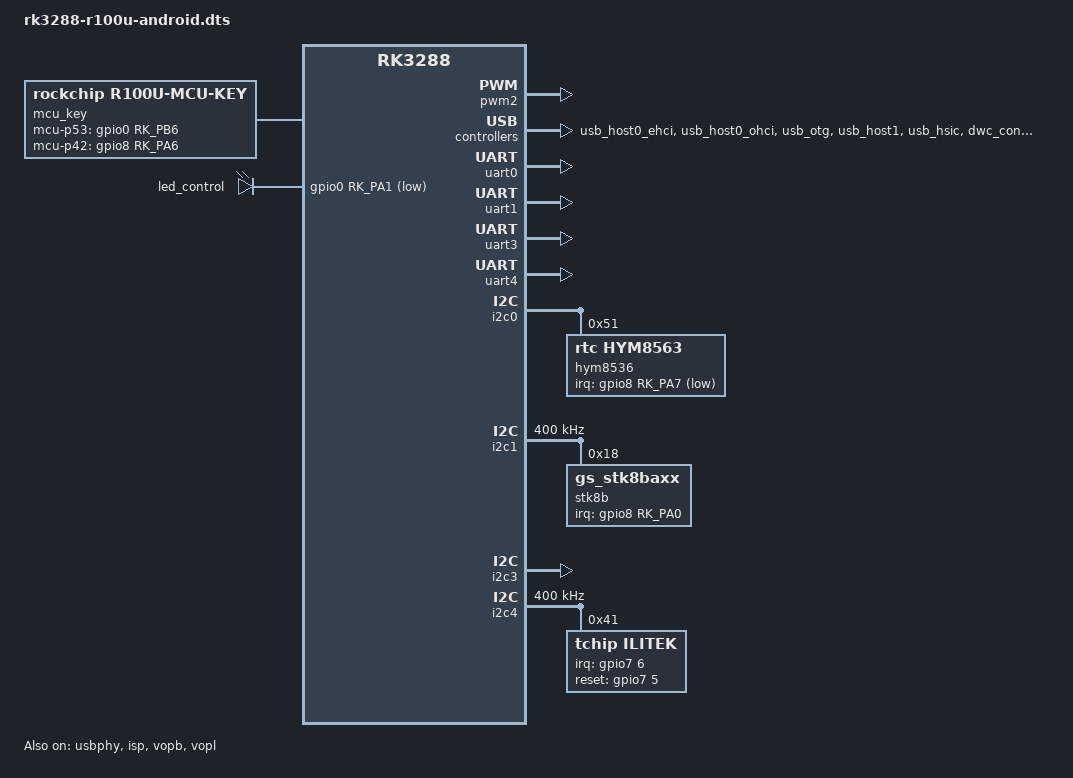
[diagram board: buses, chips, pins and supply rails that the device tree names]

/dts-v1/;
#include "rk3288-r100u-def.dtsi"

// #include "rk3288-r100u-edp-10p1inch-1920x1080.dtsi"
#include "rk3288-r100u-edp-15p6inch-1920x1080.dtsi"
// #include "rk3288-r100u-lvds-21p5inch-1920x1080.dtsi"
// #include "rk3288-r100u-mipi-10inch-1920x1080.dtsi"
// #include "rk3288-r100u-mipi-8inch-800x1280.dtsi"

/ {
	compatible = "rockchip,rk3288-evb-android-rk808-edp", "rockchip,rk3288";
   /** start : default system power-key -----------------------------------------------*/
    rk_key: rockchip-key {
    		compatible = "rockchip,key";
    		status = "okay";
    		// io-channels = <&saradc 1>;
    		power-key {
    			gpios = <&gpio0 5 GPIO_ACTIVE_LOW>;      // system default power key port
            //  gpios = <&gpio5 RK_PC3 GPIO_ACTIVE_LOW>;     // customer define power key in project r100u
    			linux,code = <116>;
    			pinctrl-names = "default";
    			pinctrl-0 = <&pwrbtn>;
    			label = "power";
    			gpio-key,wakeup;
    		};
    	};
    /** end : default system power-key -----------------------------------------------*/
    /** start : mcu power off control -----------------------------------------------*/
    mcu_key: mcu-key {
        compatible = "rockchip,r100u-mcu-key";
        status = "okay";
        mcu-p53-gpio = <&gpio0 RK_PB6 GPIO_ACTIVE_HIGH>;
        mcu-p42-gpio = <&gpio8 RK_PA6 GPIO_ACTIVE_HIGH>;
    };
    /** end : mcu power off control ------------------------------------------------*/
    leds {
        compatible = "gpio-leds";
        status = "okay";
        led0:led-control {
            label = "led_control";
            gpios = <&gpio0 RK_PA1 GPIO_ACTIVE_LOW>;
            default-state = "on";
            linux,default-trigger = "heartbeat";
            linux,default-trigger-delay-ms = <6000>;    // custorm configuration mode
        };
    };
};

&pwm2 {
    status = "okay";
    compatible = "rockchip,remotectl-pwm";
    pinctrl-names = "default";          // change default active to default
    pinctrl-0 = <&pwm2_pin>;
    // pinctrl-0 = <&pwm3_pin>;
    remote_pwm_id = <2>;
    handle_cpu_id = <1>;
    interrupts = <GIC_SPI 78 IRQ_TYPE_LEVEL_HIGH>;
    remote_support_psci = <1>;
    ir_key0 {   // uninvert code
        rockchip,usercode = <0x7F80>;
        // rockchip,usercode = <0x4040>;
        rockchip,key_table =
            <0xED   KEY_POWER>,
            <0xFB   KEY_MENU>,
            <0xF9   KEY_BACK>,
            <0xFE   KEY_HOMEPAGE>,
            <0xF1   KEY_VOLUMEUP>,
            <0xF3   KEY_VOLUMEDOWN>,
            <0xFA   KEY_UP>,
            <0xE4   KEY_DOWN>,
            <0xF8   KEY_LEFT>,
            <0xF7   KEY_ENTER>,
            <0xF6   KEY_RIGHT>;
    };  
    ir_key1 {   // invert code
    rockchip,usercode = <0x7F80>;
        // rockchip,usercode = <0x4040>;
        rockchip,key_table =
            <0x12   KEY_POWER>,
            <0x04   KEY_MENU>,
            <0x06   KEY_BACK>,
            <0x01   KEY_HOMEPAGE>,
            <0x0E   KEY_VOLUMEUP>,
            <0x0C   KEY_VOLUMEDOWN>,
            <0x05   KEY_UP>,
            <0x1B   KEY_DOWN>,
            <0x07   KEY_LEFT>,
            <0x08   KEY_ENTER>,
            <0x09   KEY_RIGHT>;
    };  
	ir_key2 {
		rockchip,usercode = <0xff00>;
		rockchip,key_table =
            <0xEF  KEY_POWER>,
            <0xFE  KEY_VOLUMEUP>,
            <0xFD  KEY_DELETE>,
            <0xF8  KEY_VOLUMEDOWN>,
            <0xE8  KEY_UP>,
            <0xE5  KEY_LEFT>,
            <0xE4  KEY_ENTER>,
            <0xE0  KEY_DOWN>,
            <0xBE   KEY_MENU>,
            <0xA6  KEY_RIGHT>,
            <0x5A  KEY_BRIGHTNESSDOWN>,
            <0xA3  KEY_BACK>,
            <0x5F  KEY_BRIGHTNESSUP>;
	};
};

&usbphy {
	status = "okay";
};

&usb_host0_ehci {
	rockchip-relinquish-port;
	status = "okay";
};

&usb_host0_ohci {
	status = "okay";
};

&usb_otg {
	status = "okay";
};

// for kernel driver camera part
&isp {
    status = "okay";
    camera_power = <&gpio0 RK_PC1 GPIO_ACTIVE_HIGH>;
};

/** start usb host mode set ------------------------------------------------------*/
&usb_host1 {
	status = "okay";
};

&usb_hsic {
    status = "okay";
};

&dwc_control_usb {
    status = "okay";
    host_drv_gpio = <&gpio8 9 GPIO_ACTIVE_LOW>;
};
/** end usb host mode set --------------------------------------------------------*/

&vopb {
	status = "okay";
};

&vopb_mmu {
	status = "okay";
};

&vopl {
	status = "okay";
};

&vopl_mmu {
	status = "okay";
};

&uart0 {
	pinctrl-names = "default";
	pinctrl-0 = <&uart0_xfer &uart0_cts>;
	status = "okay";
};

&uart1 {
    status = "okay";
};

&uart2 {
	status = "disabled";
};

&uart3 {
    status = "okay";
    rs485-ctrl-gpio = <&gpio7 RK_PC0 GPIO_ACTIVE_HIGH>;
};

&uart4 {
    status = "okay";
};
&i2c0 {
    hym8536@51 {
		compatible = "rtc,hym8563";
		status = "okay";
		reg = <0x51>;
        irq_gpio = <&gpio8 RK_PA7 GPIO_ACTIVE_LOW>;
    };
};
&i2c1 {
	status = "okay";
	clock-frequency = <400000>; // decode chip i2c speed max 100KHz
    
	stk8b@18 {
		compatible = "gs_stk8baxx";
		status = "okay";
		reg = <0x18>;
        type = <SENSOR_TYPE_ACCEL>;
        irq-gpio = <&gpio8 RK_PA0 GPIO_ACTIVE_HIGH>;
        irq_enable = <0>;
        poll_delay_ms = <200>;
        layout = <7>;
	};
    
    // xfm10213@3e {
	// 	compatible = "xfm10213";
	// 	status = "okay";
	// 	reg = <0x3e>;
    //     irq-gpio = <&gpio5 RK_PB2 GPIO_ACTIVE_HIGH>;        // uart1_ctsn
    //     irq-trigger-level = "high";
    //     reset-gpio = <&gpio5 RK_PB4 GPIO_ACTIVE_LOW>;       // uart4 and spi0
	// };
};

&i2c3 {
	status = "okay";
};

&i2c4 {
	status = "okay";
	clock-frequency = <400000>;
    
	ilitek@41 {
        compatible = "tchip,ilitek";
        reg = <0x41>;
        screen_max_x = <1080>;
        screen_max_y = <1920>;
        ilitek,irq-gpio = <&gpio7 6 IRQ_TYPE_LEVEL_LOW>;
        ilitek,reset-gpio = <&gpio7 5 GPIO_ACTIVE_HIGH>;
    };
};

&pinctrl {
    buttons {
		pwrbtn: pwrbtn {
			rockchip,pins = <0 5 RK_FUNC_GPIO &pcfg_pull_up>;
		};
	};
};
